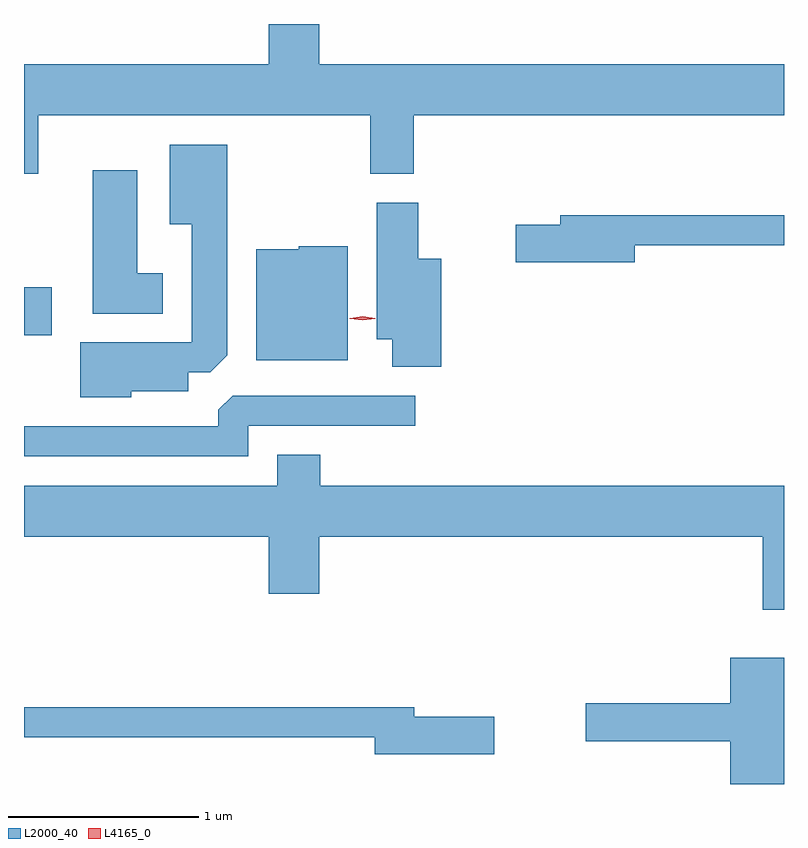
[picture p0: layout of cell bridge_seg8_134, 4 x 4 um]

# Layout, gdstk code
import gdstk
lib = gdstk.Library(unit=1e-6, precision=1e-09)
def R(c, l, rs):  # rectangles x0, y0, x1, y1
    for r in rs: c.add(gdstk.rectangle(r[:2], r[2:], *l))
def P(c, l, *ps):  # polygons
    for p in ps: c.add(gdstk.Polygon(p, *l))
L2000_40 = (2000, 40)
L4165_0 = (4165, 0)

bridge_seg8_134 = lib.new_cell('bridge_seg8_134')
R(bridge_seg8_134, L2000_40, [(1712.289,1864.116,1712.434,1864.369)])
P(bridge_seg8_134, L2000_40, [(1712.364,1865.276),(1714.111,1865.276),(1714.111,1864.966),(1714.339,1864.966),(1714.339,1865.276),(1716.289,1865.276),(1716.289,1865.544),(1713.844,1865.544),(1713.844,1865.755),(1713.576,1865.755),(1713.576,1865.544),(1712.289,1865.544),(1712.289,1864.966),(1712.364,1864.966)],
  [(1712.854,1863.821),(1713.154,1863.821),(1713.154,1863.921),(1713.269,1863.921),(1713.359,1864.012),(1713.359,1865.119),(1713.056,1865.119),(1713.056,1864.701),(1713.171,1864.701),(1713.171,1864.079),(1712.586,1864.079),(1712.586,1863.791),(1712.854,1863.791)],
  [(1713.019,1864.444),(1712.884,1864.444),(1712.884,1864.984),(1712.651,1864.984),(1712.651,1864.231),(1713.019,1864.231)],
  [(1714.484,1864.519),(1714.364,1864.519),(1714.364,1864.814),(1714.146,1864.814),(1714.146,1864.096),(1714.226,1864.096),(1714.226,1863.951),(1714.484,1863.951)],
  [(1715.504,1864.591),(1716.289,1864.591),(1716.289,1864.749),(1715.111,1864.749),(1715.111,1864.699),(1714.876,1864.699),(1714.876,1864.501),(1715.504,1864.501)],
  [(1713.994,1864.584),(1713.735,1864.584),(1713.735,1864.569),(1713.511,1864.569),(1713.511,1863.986),(1713.994,1863.986)],
  [(1713.469,1863.641),(1714.348,1863.641),(1714.348,1863.799),(1713.387,1863.799),(1713.311,1863.724),(1713.311,1863.639),(1712.289,1863.639),(1712.289,1863.481),(1713.469,1863.481)],
  [(1716.289,1863.324),(1713.849,1863.324),(1713.849,1863.489),(1713.621,1863.489),(1713.621,1863.324),(1712.289,1863.324),(1712.289,1863.056),(1713.576,1863.056),(1713.576,1862.756),(1713.844,1862.756),(1713.844,1863.056),(1716.176,1863.056),(1716.176,1862.673),(1716.289,1862.673)],
  [(1716.289,1862.419),(1716.006,1862.419),(1716.006,1862.179),(1715.246,1862.179),(1715.246,1861.981),(1716.006,1861.981),(1716.006,1861.755),(1716.289,1861.755)],
  [(1714.764,1862.109),(1714.344,1862.109),(1714.344,1862.159),(1712.289,1862.159),(1712.289,1862.001),(1714.136,1862.001),(1714.136,1861.911),(1714.764,1861.911)])
P(bridge_seg8_134, L4165_0, [(1714.071,1864.196),(1714.004,1864.205),(1714.004,1864.206),(1714.004,1864.206),(1714.071,1864.216),(1714.137,1864.206),(1714.137,1864.206),(1714.137,1864.205)])

lib.write_gds('bridge_seg8_134.gds')
